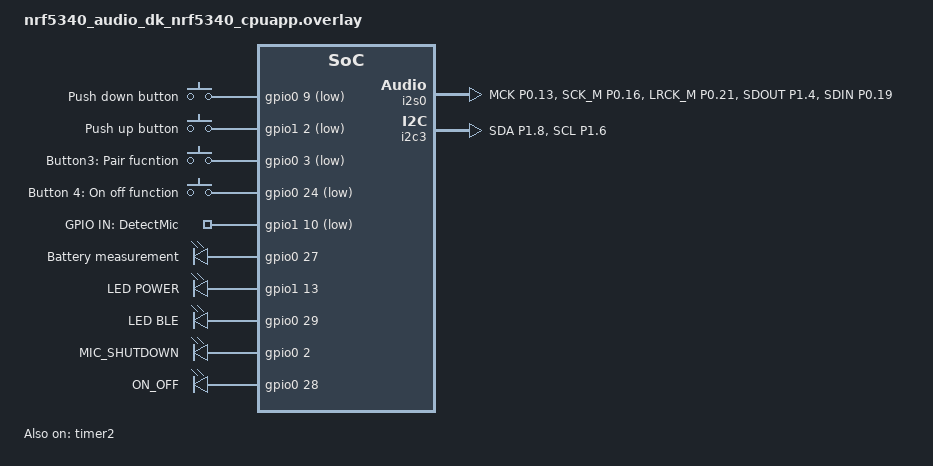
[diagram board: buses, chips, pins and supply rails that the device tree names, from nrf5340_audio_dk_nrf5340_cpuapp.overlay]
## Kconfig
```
#
# Copyright (c) 2018 Nordic Semiconductor ASA
#
# SPDX-License-Identifier: LicenseRef-Nordic-5-Clause
#

menuconfig NRF5340_AUDIO
	 bool "nRF5340 Audio [EXPERIMENTAL]"
	 select EXPERIMENTAL

if NRF5340_AUDIO

config AUDIO_DEV
	int "Select which device type to compile for. 1=HEADSET or 2=GATEWAY"
	range 1 2
	default 1
	help
	  Setting this variable to 1 selects that the project is compiled
	  as a HEADSET device.
	  Setting to 2 will compile as a GATEWAY.
config AUDIO_HARDWARE_CODEC
	int "Select which codec type is for. 1=ES8311 or 2=ES8388"
	range 1 2
	default 1
	help
	  Setting this variable to 1 selects that the project is compiled
	  as a ES8311 device.
	  Setting to 2 will compile as a ES8388.
choice NRF5340_AUDIO_TRANSPORT_MODE
	prompt "Choose BIS or CIS for ISO transport"
	default TRANSPORT_CIS if WALKIE_TALKIE_DEMO
	default TRANSPORT_CIS
config TRANSPORT_BIS
	bool "Use BIS (Broadcast Isochronous Stream)"

config TRANSPORT_CIS
	bool "Use CIS (Connected Isochronous Stream)"

endchoice

#----------------------------------------------------------------------------#
rsource "Kconfig.defaults"
rsource "src/audio/Kconfig"
rsource "src/bluetooth/Kconfig"
rsource "src/drivers/Kconfig"
rsource "src/modules/Kconfig"
rsource "src/utils/Kconfig"
rsource "dfu/conf/Kconfig.dfu"

#----------------------------------------------------------------------------#
menu "Logging"

module = MAIN
module-str = main
source "subsys/logging/Kconfig.template.log_config"

config PRINT_STACK_USAGE_MS
	depends on THREAD_ANALYZER && INIT_STACKS
	int "Print stack usage every x milliseconds"
	default 5000

endmenu # Log levels

#----------------------------------------------------------------------------#
endif # NRF5340_AUDIO

source "Kconfig.zephyr"
```

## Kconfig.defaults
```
#
# Copyright (c) 2022 Nordic Semiconductor ASA
#
# SPDX-License-Identifier: LicenseRef-Nordic-5-Clause
#

config REBOOT
	default y

config MAIN_THREAD_PRIORITY
	default 10

config MAIN_STACK_SIZE
	default 1400

config SYSTEM_WORKQUEUE_STACK_SIZE
	default 1200

# As long as thread names are used, config must be set to "y"
config THREAD_NAME
	default y

config NCS_INCLUDE_RPMSG_CHILD_IMAGE
	default n

# Workaround to not use fatal_error.c in NCS. Note that the system may still
# reset on error depending on the build configuraion
config RESET_ON_FATAL_ERROR
	default n

# Default Config for Debug and Release build
config HW_CODEC_CIRRUS_LOGIC
	default y

config BT
	default y

config BOARD_ENABLE_DCDC_APP
	default y

config BOARD_ENABLE_DCDC_NET
	default y

config BOARD_ENABLE_CPUNET
	default y

config NFCT_PINS_AS_GPIOS
	default y

config ZBUS
	default y

config ZBUS_RUNTIME_OBSERVERS_POOL_SIZE
	default 5

config SENSOR
	default y

config REGULATOR
	default y

config CONTIN_ARRAY
	default y

config NRFX_I2S
	default y

config PCM_MIX
	default y

config TONE
	default y

config PSCM
	default y

config DATA_FIFO
	default y

# Enable NRFX_CLOCK for ACLK control
config NRFX_CLOCK
	default y

config I2C
	default y

choice LIBC_IMPLEMENTATION
	# NOTE: Since we are not using minimal libc, error codes from
	#       minimal libc are not used
	default NEWLIB_LIBC
endchoice

# Audio codec LC3 related defines
# FPU_SHARING enables preservation of the hardware floating point registers
# across context switches to allow multiple threads to perform concurrent
# floating point operations.
config FPU
	default y

config FPU_SHARING
	default y

# Enable SDHC interface
config DISK_DRIVERS
	default y

config DISK_DRIVER_SDMMC
	default y

# Enable SPI interface
config SPI
	default y

# Enable ADC for board version readback
config ADC
	default y

# Allocate buffer on RAM for transferring chunck of data
# from Flash to SPI
config SPI_NRFX_RAM_BUFFER_SIZE
	default 8

# Config the file system
config FILE_SYSTEM
	default y

config FAT_FILESYSTEM_ELM
	default y

config FS_FATFS_LFN
	default y
choice FS_FATFS_LFN_MODE
	# Using stack for LFN work queue
	default FS_FATFS_LFN_MODE_STACK
endchoice

# exFAT enabled to support longer file names and higher transfer speed
config FS_FATFS_EXFAT
	default y

# Set the maximum file name length to 255
config FS_FATFS_MAX_LFN
	default 255

config BT_LL_ACS_NRF53
	default y
```

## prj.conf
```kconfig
#
# Copyright (c) 2022 Nordic Semiconductor ASA
#
# SPDX-License-Identifier: LicenseRef-Nordic-5-Clause
#

# nRF5340 Audio
CONFIG_NRF5340_AUDIO=y

# General
CONFIG_DEBUG=y
CONFIG_DEBUG_INFO=y
CONFIG_ASSERT=y
CONFIG_STACK_USAGE=y
CONFIG_THREAD_RUNTIME_STATS=y
CONFIG_STACK_SENTINEL=y
CONFIG_INIT_STACKS=y


# Uart driver
CONFIG_SERIAL=n


# Logging
CONFIG_LOG=y
CONFIG_NEWLIB_LIBC_FLOAT_PRINTF=y
CONFIG_LOG_TAG_MAX_LEN=2
CONFIG_LOG_TAG_DEFAULT="--"
CONFIG_LOG_INFO_COLOR_GREEN=y
CONFIG_LOG_BUFFER_SIZE=8192

# Console related defines
CONFIG_CONSOLE=y
CONFIG_RTT_CONSOLE=y
CONFIG_UART_CONSOLE=n

# Shell related defines
CONFIG_SHELL=y
CONFIG_KERNEL_SHELL=y
CONFIG_USE_SEGGER_RTT=y
## Disable logs on RTT
CONFIG_SHELL_RTT_INIT_LOG_LEVEL_NONE=n
CONFIG_SHELL_BACKEND_RTT=n
CONFIG_SHELL_BACKEND_SERIAL=n
CONFIG_SHELL_VT100_COLORS=y
CONFIG_SHELL_STACK_SIZE=1024
CONFIG_SHELL_CMD_BUFF_SIZE=128
## Reduce shell memory usage
CONFIG_SHELL_WILDCARD=n
CONFIG_SHELL_HELP_ON_WRONG_ARGUMENT_COUNT=n
CONFIG_SHELL_STATS=n
CONFIG_SHELL_CMDS=n
CONFIG_SHELL_HISTORY=y

# Turn off default shell commands
CONFIG_I2C_SHELL=n
CONFIG_HWINFO_SHELL=n
CONFIG_CLOCK_CONTROL_NRF_SHELL=n
CONFIG_FLASH_SHELL=n
CONFIG_DEVICE_SHELL=n

# Suppress err msg from sd_check_card_type. Because SPI_SDHC has no card presence method,
# assume card is in slot. Thus error message is always shown if card is not inserted
# CONFIG_SD_LOG_LEVEL
# CONFIG_SD_LOG_LEVEL_OFF=y



#Not compling the SDHC source files 
# CONFIG_SDHC_LOG_LEVEL_OFF=y
CONFIG_DISK_DRIVERS=n
CONFIG_DISK_DRIVER_SDMMC=n

#Not compling driver for IC INA230
CONFIG_INA230=n


# Custom configuration

CONFIG_WATCHDOG=y
CONFIG_WDT_NRFX=y
CONFIG_NRFX_WDT0=y

CONFIG_TRANSPORT_BIS=y
CONFIG_TRANSPORT_CIS=n
CONFIG_AUDIO_HARDWARE_CODEC=2
CONFIG_BIS_STEREO_HEADSET=y
CONFIG_DEBUG_INFO=y

CONFIG_RTT_CONSOLE=y

CONFIG_CLOCK_CONTROL_NRF_K32SRC_RC=y
CONFIG_BT_SMP=y
CONFIG_CLOCK_CONTROL_NRF_K32SRC_500PPM=y
CONFIG_I2C=y
CONFIG_I2C_NRFX=y

CONFIG_NRFX_SPIM4=n
CONFIG_NRFX_SPIM0=n


CONFIG_DEBUG=y
CONFIG_SDHC=n
CONFIG_BT_DEVICE_NAME_DYNAMIC=y
CONFIG_BT_DEVICE_NAME="MICBLE"
CONFIG_BT_DEVICE_NAME_MAX=48
CONFIG_ENCODER_STACK_SIZE=16384
CONFIG_LC3_ENC_CHAN_MAX=2
CONFIG_CPU_LOAD=y
CONFIG_CPU_LOAD_LOG_PERIODIC=y
CONFIG_CPU_LOAD_LOG_INTERVAL=2000
CONFIG_FIFO_TX_FRAME_COUNT=6


CONFIG_AUDIO_SOURCE_I2S=y
CONFIG_AUDIO_SOURCE_USB=n

# Enable the BLE stack with GATT Client configuration
CONFIG_BT=y


#This is the config for gateway using peripheral NUS
####################################################
#Enable the NUS service
CONFIG_BT_NUS=y
CONFIG_BT_PERIPHERAL=y
CONFIG_BT_DEVICE_APPEARANCE=833
CONFIG_BT_MAX_CONN=1
CONFIG_BT_MAX_PAIRED=1
# This example requires more workqueue stack
CONFIG_SYSTEM_WORKQUEUE_STACK_SIZE=2048
CONFIG_BT_EXT_ADV_MAX_ADV_SET=3
######################################################


#This is the config for speaker using central nus to exchange key and value data
######################################################
# Enable the BLE stack with GATT Client configuration
# CONFIG_BT=y
# CONFIG_BT_CENTRAL=y
# CONFIG_BT_SMP=y
# CONFIG_BT_GATT_CLIENT=y

# # Enable the BLE modules from NCS
# CONFIG_BT_NUS_CLIENT=y
# CONFIG_BT_SCAN=y
# CONFIG_BT_SCAN_FILTER_ENABLE=y
# CONFIG_BT_SCAN_UUID_CNT=1
# CONFIG_BT_GATT_DM=y
# CONFIG_HEAP_MEM_POOL_SIZE=2048
# CONFIG_BT_SCAN_NAME_CNT=1
# # ## Config flash to 
CONFIG_FLASH=y
CONFIG_FLASH_PAGE_LAYOUT=y


CONFIG_NVS=y
CONFIG_LOG=y
CONFIG_NVS_LOG_LEVEL_DBG=n
CONFIG_REBOOT=y
CONFIG_MPU_ALLOW_FLASH_WRITE=y

CONFIG_AUDIO_DEV=2



CONFIG_ZBUS_RUNTIME_OBSERVERS_POOL_SIZE=6


# CONFIG_BT=y
# CONFIG_BT_CENTRAL=y
# CONFIG_BT_SMP=y
# CONFIG_BT_GATT_CLIENT=y
# CONFIG_BT_HRS=y
# CONFIG_BT_GAP_AUTO_UPDATE_CONN_PARAMS=n

# CONFIG_BT_GAP_PERIPHERAL_PREF_PARAMS=n


#CONFIG_BT_BAS=y
CONFIG_AURACAST=n
```

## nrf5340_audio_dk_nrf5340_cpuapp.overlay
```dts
// To get started, press Ctrl+Space to bring up the completion menu and view the available nodes.

// You can also use the buttons in the sidebar to perform actions on nodes.
// Actions currently available include:

// * Enabling / disabling the node
// * Adding the bus to a bus
// * Removing the node
// * Connecting ADC channels
// #include <nordic/nrf5340_cpuapp.dtsi>

// For more help, browse the DeviceTree documentation at https://docs.zephyrproject.org/latest/guides/dts/index.html
// You can also visit the nRF DeviceTree extension documentation at https://nrfconnect.github.io/vscode-nrf-connect/devicetree/nrfdevicetree.html
/{
	// leds:	leds {
	// 	rgb1_blue: led_2 {
	// 		gpios = <&gpio0 25 GPIO_ACTIVE_HIGH>;
	// 		label = "0 LED_RGB_BLUE";
	// 	};
	// };
	buttons {
		compatible = "gpio-keys";
		button_1_vol_dn: button_1_vol_dn {
			gpios = <&gpio0 9 (GPIO_ACTIVE_LOW)>;
			label = "Push down button";
		};
		button_2_vol_up: button_2_vol_up {
			gpios = <&gpio1 2 (GPIO_ACTIVE_LOW)>;
			label = "Push up button";
		};
		button_3_pair: button3_pair {
			gpios = <&gpio0 3 (GPIO_ACTIVE_LOW)>;
			label = "Button3: Pair fucntion";
		};
		button_4_on_off: button4_on_off {
			gpios = <&gpio0 24 (GPIO_ACTIVE_LOW|GPIO_PULL_DOWN)>;
			label = "Button 4: On off function";
		};
		line_in_detect: line_in_detect{
			gpios = <&gpio1 10 (GPIO_ACTIVE_LOW)>;
			label = "GPIO IN: DetectMic";
		};
	};
	battery: battery
	{
		compatible = "gpio-leds";
		bat_measure: bat_measure
		{
			//compatible = "gpio-leds";
			gpios = <&gpio0 27 GPIO_ACTIVE_HIGH>;
			label = "Battery measurement";
		};
	};
    user_leds:	user_leds {
        compatible = "gpio-leds";
        led_pwr: led_power{
            gpios = <&gpio1 13 GPIO_ACTIVE_HIGH>;
            label = "LED POWER";
        };
        led_ble: led_bluetooth{
            gpios = <&gpio0 29 GPIO_ACTIVE_HIGH>;
            label = "LED BLE";
        };


    };
	inout: inout{
		compatible = "gpio-leds";
		mic_shutdown: mic_shutdown{
			gpios = <&gpio0 2 GPIO_ACTIVE_HIGH>;
			label = "MIC_SHUTDOWN";
		};
		on_off_control: on_off_control{
			gpios = <&gpio0 28 GPIO_ACTIVE_HIGH>;
			//lable = "ON_OFF";
			label = "ON_OFF";
		};
	};
     /delete-node/nrf5340_audio_dk;
    // /delete-node/nrf5340_audio_dk;
    aliases
     {
        /delete-property/led0;
        led0 = &led_pwr;
        led1 = &led_ble;
        sw0 = &button_1_vol_dn;
		sw1 = &button_2_vol_up;
		sw2 = &button_3_pair;
		sw3 = &button_4_on_off;
	    mic = &mic_shutdown;
		linedet = &line_in_detect;
		onoff = &on_off_control;
     };
};


&pinctrl{
    i2s_user: i2s0_user
    {
		group1 {
			psels = <NRF_PSEL(I2S_MCK, 0, 13)>;
			nordic,drive-mode = <NRF_DRIVE_H0H1>;
		};
		group2 {
			psels = <NRF_PSEL(I2S_SCK_M, 0, 16)>,
				<NRF_PSEL(I2S_LRCK_M, 0, 21)>,
				<NRF_PSEL(I2S_SDOUT, 1, 4)>,
				<NRF_PSEL(I2S_SDIN, 0, 19)>;
		};
    };
    i2s_sleep: i2s0_sleep
    {
		group1 {
			psels = <NRF_PSEL(I2S_MCK, 0, 13)>;
			nordic,drive-mode = <NRF_DRIVE_H0H1>;
			low-power-enable;
		};
		group2 {
			psels = <NRF_PSEL(I2S_SCK_M, 0, 16)>,
				<NRF_PSEL(I2S_LRCK_M, 0, 21)>,
				<NRF_PSEL(I2S_SDOUT, 1, 4)>,
				<NRF_PSEL(I2S_SDIN, 0, 19)>;
				low-power-enable;
		};
    };
	i2c1_default: i2c1_default {
		group1 {
			psels = <NRF_PSEL(TWIM_SDA, 1, 2)>,
				<NRF_PSEL(TWIM_SCL, 1, 4)>;
            bias-pull-up;
			
		};
	};
    i2c0_default: i2c0_default {
		group1 {
			psels = <NRF_PSEL(TWIM_SDA, 1, 8)>,
				<NRF_PSEL(TWIM_SCL, 1, 4)>;
            bias-pull-up;
			
		};
	};
    i2c3_default: i2c3_default {
		group1 {
			psels = <NRF_PSEL(TWIM_SDA, 1, 8)>,
				<NRF_PSEL(TWIM_SCL, 1, 6)>;
            //bias-pull-up;
			
		};
	};
    i2c3_sleep: i2c3_sleep {
		group1 {
			psels = <NRF_PSEL(TWIM_SDA, 1, 8)>,
				<NRF_PSEL(TWIM_SCL, 1, 6)>;
            //bias-pull-up;
            low-power-enable;
		};
	};
    i2c4_default: i2c4_default {
		group1 {
			psels = <NRF_PSEL(TWIM_SDA, 1, 8)>,
				<NRF_PSEL(TWIM_SCL, 1, 9)>;
            bias-pull-up;
			
		};
	};
    
	i2c1_sleep: i2c1_sleep {
		group1 {
			psels = <NRF_PSEL(TWIM_SDA, 1, 6)>,
				<NRF_PSEL(TWIM_SCL, 1, 8)>;
			low-power-enable;
		};
	};


};
&i2s0 {
	compatible = "nordic,nrf-i2s";
	status = "okay";
    pinctrl-0 = <&i2s_user> ;
	pinctrl-1 = <&i2s0_sleep>;
    pinctrl-names = "default", "sleep";
};
&i2c3 {
    compatible = "nordic,nrf-twim";
    status = "okay";
    pinctrl-0 = <&i2c3_default>;
    pinctrl-1 =  <&i2c3_sleep>;
    pinctrl-names = "default","sleep";
};
&i2c1 {
    status = "disabled";
	/delete-property/vbat_sensor;
};

&uart0 {
    status = "disabled";
	current-speed = <115200>;
	pinctrl-0 = <&uart0_default>;
    /delete-property/ pinctrl-1;
    /delete-property/ pinctrl-0;
    /delete-property/pinctrl-names;
};
&pwm0 {
	status = "disabled";
};

&timer0 {
	status = "disabled";
};

&timer1 {
	status = "disabled";
};

&timer2 {
	status = "okay";
};
&spi4{
	status = "disabled";
	///delete-node/cs47l63
};


/{
	gpio_fwd: nrf-gpio-forwarder {
		compatible = "nordic,nrf-gpio-forwarder";
		status = "disabled";
		///delete-property/uart;
	};
};
```

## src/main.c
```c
/*
 * Copyright (c) 2018 Nordic Semiconductor ASA
 *
 * SPDX-License-Identifier: LicenseRef-Nordic-5-Clause
 */

#include <zephyr/kernel.h>
#include <zephyr/debug/stack.h>
#include <zephyr/device.h>
#include <string.h>

#include <zephyr/bluetooth/bluetooth.h>
#include <zephyr/settings/settings.h>
#include <zephyr/zbus/zbus.h>

#include "macros_common.h"
#include "fw_info_app.h"
#include "led.h"
#include "button_handler.h"
#include "button_assignments.h"
#include "nrfx_clock.h"
#include "ble_core.h"
#include "sd_card.h"
#include "board_version.h"
#include "audio_system.h"
#include "channel_assignment.h"
#include "streamctrl.h"
#include "pair_ultilities.h"
#include "button_handler.h"
#include "hw_output.h"
#include "app_wdt.h"
#include "battery_measurement.h"

#include "ble_custom_nus_central.h"
#include "ble_custom_nus.h"

#if defined(CONFIG_AUDIO_DFU_ENABLE)
#include "dfu_entry.h"
#endif

#include <zephyr/logging/log.h>
LOG_MODULE_REGISTER(main, CONFIG_MAIN_LOG_LEVEL);

#if defined(CONFIG_INIT_STACKS)
/* Used for printing stack usage */
extern struct k_thread z_main_thread;
#endif /* defined(CONFIG_INIT_STACKS) */

static atomic_t ble_core_is_ready = (atomic_t) false;
//static struct board_version board_rev;

ZBUS_CHAN_DECLARE(button_chan);
ZBUS_CHAN_DECLARE(le_audio_chan);

ZBUS_OBS_DECLARE(button_sub);
ZBUS_OBS_DECLARE(le_audio_evt_sub);

/*Declare for battery measurement*/
ZBUS_CHAN_DECLARE(battery_measure_channel);
ZBUS_OBS_DECLARE(battery_measure_sub);
/**/
#if(CONFIG_AUDIO_DEV == GATEWAY)
ZBUS_CHAN_DECLARE(pair_peripheral_to_channel);
ZBUS_OBS_DECLARE(pair_peripheral_sub);
/**/
#elif(CONFIG_AUDIO_DEV == HEADSET)
ZBUS_CHAN_DECLARE(pair_central_to_channel);
ZBUS_OBS_DECLARE(pair_central_sub);

ZBUS_CHAN_DECLARE(audio_state_channel);
ZBUS_OBS_DECLARE(audio_state_sub);
#endif
static int hfclock_config_and_start(void)
{
	int ret;

	/* Use this to turn on 128 MHz clock for cpu_app */
	ret = nrfx_clock_divider_set(NRF_CLOCK_DOMAIN_HFCLK, NRF_CLOCK_HFCLK_DIV_1);

	ret -= NRFX_ERROR_BASE_NUM;
	if (ret) {
		return ret;
	}

	nrfx_clock_hfclk_start();
	while (!nrfx_clock_hfclk_is_running()) {
	}

	return 0;
}


static int channel_assign_check(void)
{
#if (CONFIG_AUDIO_DEV == HEADSET) && CONFIG_AUDIO_HEADSET_CHANNEL_RUNTIME
	int ret;
	bool pressed;

	ret = button_pressed(BUTTON_VOLUME_DOWN, &pressed);
	if (ret) {
		return ret;
	}

	if (pressed) {
		channel_assignment_set(AUDIO_CH_L);
		return 0;
	}

	ret = button_pressed(BUTTON_VOLUME_UP, &pressed);
	if (ret) {
		return ret;
	}

	if (pressed) {
		channel_assignment_set(AUDIO_CH_R);
		return 0;
	}
#endif

	return 0;
}

/* Callback from ble_core when the ble subsystem is ready */
void on_ble_core_ready(void)
{
	int ret;
	(void)ret;
	(void)atomic_set(&ble_core_is_ready, (atomic_t) true);

	if (IS_ENABLED(CONFIG_SETTINGS)) {
		settings_load();

		//ret = bonding_clear_check();
		//ERR_CHK(ret);
	}
}

int main(void)
{
	int ret;

	LOG_DBG("nRF5340 APP core started");

	ret = hfclock_config_and_start();
	ERR_CHK(ret);

	ret = led_init();
	ERR_CHK(ret);

	if (IS_ENABLED(CONFIG_ZBUS) && (CONFIG_ZBUS_RUNTIME_OBSERVERS_POOL_SIZE > 0)) {
		ret = zbus_chan_add_obs(&button_chan, &button_sub, K_MSEC(200));
		ERR_CHK(ret);

		ret = zbus_chan_add_obs(&le_audio_chan, &le_audio_evt_sub, K_MSEC(200));
		ERR_CHK(ret);

		ret = zbus_chan_add_obs(&battery_measure_channel, &battery_measure_sub, K_MSEC(200));
		ERR_CHK(ret);
#if(CONFIG_AUDIO_DEV == GATEWAY)
		ret = zbus_chan_add_obs(&pair_peripheral_to_channel, &pair_peripheral_sub, K_MSEC(200));
	    ERR_CHK(ret);
#elif(CONFIG_AUDIO_DEV == HEADSET)
		ret = zbus_chan_add_obs(&pair_central_to_channel, &pair_central_sub, K_MSEC(200));
		ERR_CHK(ret);

		ret = zbus_chan_add_obs(&audio_state_channel, &audio_state_sub, K_MSEC(200));
		ERR_CHK(ret);
#endif
	}

	ret = app_wdt_enable();
	ERR_CHK(ret);

	ret = hw_output_init();
	ERR_CHK(ret);

	ret = button_handler_init();
	ERR_CHK(ret);

	channel_assignment_init();

	ret = channel_assign_check();
	ERR_CHK(ret);

	ret = fw_info_app_print();
	ERR_CHK(ret);

	ret = battery_measurement_init();
	ERR_CHK(ret);
	ultilities_load_mac(); // load device mac address
	pair_ultilities_flash_init();
	if(ultilities_flash_get_reset())
	{
		if(app_button_read_onoff() == 0)
		{
			hw_output_set_level(GPIO_ON_OFF_CTRL, 1);
			ultilities_flash_set_reset_val(false);
		}
		else
		{
			k_msleep(2500);
		}
	}
	else
	{
		hw_output_set_level(GPIO_ON_OFF_CTRL, 1);
	}
	hw_output_set_level(GPIO_ON_OFF_CTRL, 1);
#if defined(CONFIG_AUDIO_DFU_ENABLE)
	/* Check DFU BTN before initialize BLE */
	dfu_entry_check((void *)ble_core_init);
#endif

	/* Initialize BLE, with callback for when BLE is ready */
	ret = ble_core_init(on_ble_core_ready);
	ERR_CHK(ret);

	/* Wait until ble_core/NET core is ready */
	while (!(bool)atomic_get(&ble_core_is_ready)) {
		(void)k_sleep(K_MSEC(100));
	}

	// ret = leds_set();
	// ERR_CHK(ret);
#if(CONFIG_AUDIO_DEV == 2 && IS_ENABLED(CONFIG_TRANSPORT_BIS))
	ble_custom_nus_init();
	pair_ultitlities_set_device_name(CONFIG_BT_DEVICE_NAME);
	//ble_hci_vsc_set_adv_tx_pwr();
#elif(CONFIG_AUDIO_DEV == 1 && IS_ENABLED(CONFIG_TRANSPORT_BIS))
	ble_custom_nus_central_init();
	// pair_ultilities_flash_init();
	// uint8_t gw_if[6];
	// if(pair_ultilities_flash_read_gateway_info(gw_if) == 0)
	// {
	// 	LOG_HEXDUMP_INF(gw_if, sizeof(gw_if), "Gw: info");
	// }
	// else 
	// {
	// 	LOG_WRN("NO gateway info");
	// }
	//pair_ultilities_gateway_pair_get();
	ret = pair_ultilities_gateway_pair_get();
	if(ret == -1)
	{
		printf("No gw paired -> Please pair the device\r\n");
	}
#endif
	//audio_system_init();

	ret = streamctrl_start();
	ERR_CHK(ret);
}
```

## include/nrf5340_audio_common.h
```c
/*
 * Copyright (c) 2023 Nordic Semiconductor ASA
 *
 * SPDX-License-Identifier: LicenseRef-Nordic-5-Clause
 */

#ifndef _NRF5340_AUDIO_COMMON_H_
#define _NRF5340_AUDIO_COMMON_H_

#include <nrfx_timer.h>

#define AUDIO_SYNC_TIMER_I2S_FRAME_START_EVT_CAPTURE_CHANNEL 0
#define AUDIO_SYNC_TIMER_CURR_TIME_CAPTURE_CHANNEL 1

extern const nrfx_timer_t audio_sync_timer_instance;

/***** Messages for Z-Bus ******/

// enum button_action {
// 	BUTTON_PRESS,
// 	BUTTON_ACTION_NUM,
// };

// struct button_msg {
// 	uint32_t button_pin;
// 	enum button_action button_action;
// };

enum le_audio_evt_type {
	LE_AUDIO_EVT_CONFIG_RECEIVED,
	LE_AUDIO_EVT_PRES_DELAY_SET,
	LE_AUDIO_EVT_STREAMING,
	LE_AUDIO_EVT_NOT_STREAMING,
	LE_AUDIO_EVT_NUM_EVTS
};

struct le_audio_msg {
	enum le_audio_evt_type event;
};

#endif /* _NRF5340_AUDIO_COMMON_H_ */
```
